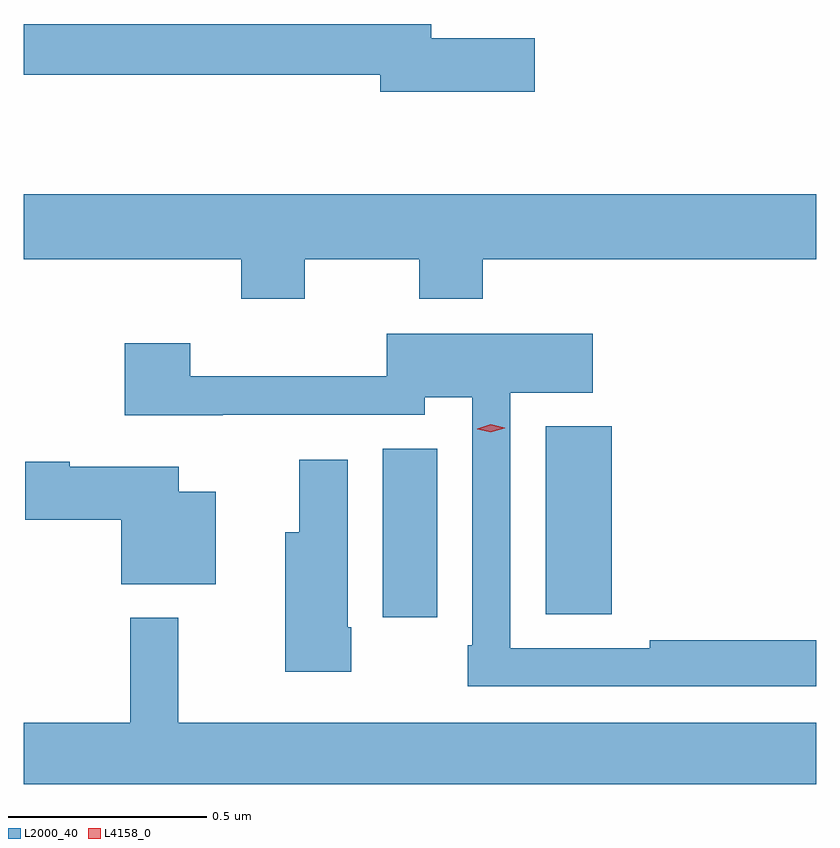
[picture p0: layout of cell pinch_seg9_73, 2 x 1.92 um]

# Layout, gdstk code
import gdstk
lib = gdstk.Library(unit=1e-6, precision=1e-09)
def R(c, l, rs):  # rectangles x0, y0, x1, y1
    for r in rs: c.add(gdstk.rectangle(r[:2], r[2:], *l))
def P(c, l, *ps):  # polygons
    for p in ps: c.add(gdstk.Polygon(p, *l))
L2000_40 = (2000, 40)
L4158_0 = (4158, 0)

pinch_seg9_73 = lib.new_cell('pinch_seg9_73')
R(pinch_seg9_73, L2000_40, [(1009.394,1172.874,1009.531,1173.299), (1009.805,1172.881,1009.972,1173.355)])
P(pinch_seg9_73, L2000_40, [(1009.777,1174.334),(1009.516,1174.334),(1009.516,1174.37),(1008.488,1174.37),(1008.488,1174.242),(1009.388,1174.242),(1009.388,1174.199),(1009.777,1174.199)],
  [(1009.197,1173.776),(1009.486,1173.776),(1009.486,1173.677),(1009.646,1173.677),(1009.646,1173.776),(1010.488,1173.776),(1010.488,1173.94),(1008.488,1173.94),(1008.488,1173.776),(1009.037,1173.776),(1009.037,1173.677),(1009.197,1173.677)],
  [(1010.488,1172.816),(1010.068,1172.816),(1010.068,1172.796),(1009.716,1172.796),(1009.716,1173.44),(1009.924,1173.44),(1009.924,1173.589),(1009.404,1173.589),(1009.404,1173.482),(1008.908,1173.482),(1008.908,1173.565),(1008.743,1173.565),(1008.743,1173.383),(1008.991,1173.383),(1008.991,1173.384),(1009.5,1173.384),(1009.5,1173.428),(1009.62,1173.428),(1009.62,1172.803),(1009.608,1172.803),(1009.608,1172.7),(1010.488,1172.7)],
  [(1009.314,1172.848),(1009.306,1172.848),(1009.306,1173.271),(1009.184,1173.271),(1009.184,1173.088),(1009.148,1173.088),(1009.148,1172.736),(1009.314,1172.736)],
  [(1008.973,1173.19),(1008.88,1173.19),(1008.88,1173.253),(1008.604,1173.253),(1008.604,1173.266),(1008.492,1173.266),(1008.492,1173.119),(1008.734,1173.119),(1008.734,1172.957),(1008.973,1172.957)],
  [(1010.488,1172.608),(1008.878,1172.608),(1008.878,1172.872),(1008.757,1172.872),(1008.757,1172.608),(1008.488,1172.608),(1008.488,1172.453),(1010.488,1172.453)])
P(pinch_seg9_73, L4158_0, [(1009.667,1173.34),(1009.632,1173.348),(1009.632,1173.348),(1009.632,1173.349),(1009.667,1173.36),(1009.702,1173.351),(1009.702,1173.351),(1009.702,1173.35)])

lib.write_gds('pinch_seg9_73.gds')
